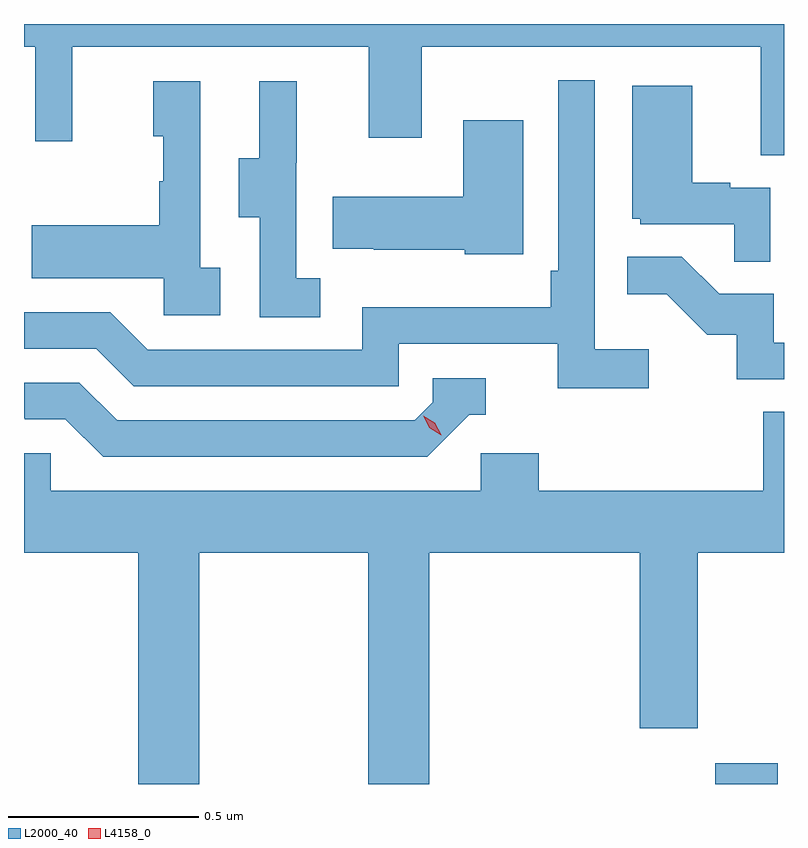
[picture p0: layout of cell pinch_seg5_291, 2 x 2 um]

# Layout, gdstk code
import gdstk
lib = gdstk.Library(unit=1e-6, precision=1e-09)
def R(c, l, rs):  # rectangles x0, y0, x1, y1
    for r in rs: c.add(gdstk.rectangle(r[:2], r[2:], *l))
def P(c, l, *ps):  # polygons
    for p in ps: c.add(gdstk.Polygon(p, *l))
L2000_40 = (2000, 40)
L4158_0 = (4158, 0)

pinch_seg5_291 = lib.new_cell('pinch_seg5_291')
R(pinch_seg5_291, L2000_40, [(946.559,913.428,946.723,913.483)])
P(pinch_seg5_291, L2000_40, [(946.74,915.428),(944.74,915.428),(944.74,915.368),(944.769,915.368),(944.769,915.12),(944.867,915.12),(944.867,915.368),(945.647,915.368),(945.647,915.129),(945.787,915.129),(945.787,915.368),(946.679,915.368),(946.679,915.082),(946.74,915.082)],
  [(946.384,914.572),(946.242,914.572),(946.242,915.28),(946.146,915.28),(946.146,914.779),(946.126,914.779),(946.126,914.683),(945.63,914.683),(945.63,914.571),(945.066,914.571),(944.967,914.67),(944.74,914.67),(944.74,914.574),(944.93,914.574),(945.029,914.475),(945.726,914.475),(945.726,914.586),(946.145,914.586),(946.145,914.47),(946.384,914.47)],
  [(945.52,914.759),(945.456,914.759),(945.456,915.063),(945.458,915.063),(945.458,915.277),(945.359,915.277),(945.359,915.075),(945.305,915.075),(945.305,914.92),(945.36,914.92),(945.36,914.656),(945.52,914.656)],
  [(945.256,914.786),(945.204,914.786),(945.204,915.277),(945.08,915.277),(945.08,915.132),(945.106,915.132),(945.106,915.014),(945.096,915.014),(945.096,914.899),(944.761,914.899),(944.761,914.759),(945.108,914.759),(945.108,914.661),(945.256,914.661)],
  [(946.704,914.997),(946.598,914.997),(946.598,915.01),(946.498,915.01),(946.498,915.265),(946.34,915.265),(946.34,914.916),(946.362,914.916),(946.362,914.901),(946.609,914.901),(946.609,914.803),(946.704,914.803)],
  [(946.054,915.175),(945.896,915.175),(945.896,914.974),(945.553,914.974),(945.553,914.837),(945.661,914.837),(945.661,914.834),(945.9,914.834),(945.9,914.822),(946.054,914.822)],
  [(946.74,914.589),(946.713,914.589),(946.713,914.718),(946.569,914.718),(946.471,914.816),(946.327,914.816),(946.327,914.717),(946.431,914.717),(946.538,914.61),(946.615,914.61),(946.615,914.493),(946.74,914.493)],
  [(945.912,914.4),(945.955,914.4),(945.955,914.496),(945.816,914.496),(945.816,914.433),(945.768,914.385),(944.985,914.385),(944.886,914.484),(944.74,914.484),(944.74,914.391),(944.742,914.391),(944.742,914.388),(944.849,914.388),(944.948,914.289),(945.801,914.289)],
  [(945.201,914.036),(945.646,914.036),(945.646,913.428),(945.806,913.428),(945.806,914.036),(946.361,914.036),(946.361,913.575),(946.513,913.575),(946.513,914.036),(946.74,914.036),(946.74,914.408),(946.685,914.408),(946.685,914.2),(946.094,914.2),(946.094,914.298),(945.942,914.298),(945.942,914.2),(944.811,914.2),(944.811,914.298),(944.74,914.298),(944.74,914.036),(945.041,914.036),(945.041,913.428),(945.201,913.428)])
P(pinch_seg5_291, L4158_0, [(945.838,914.346),(945.807,914.365),(945.79,914.397),(945.79,914.397),(945.79,914.397),(945.821,914.379),(945.838,914.347),(945.838,914.346)])

lib.write_gds('pinch_seg5_291.gds')
